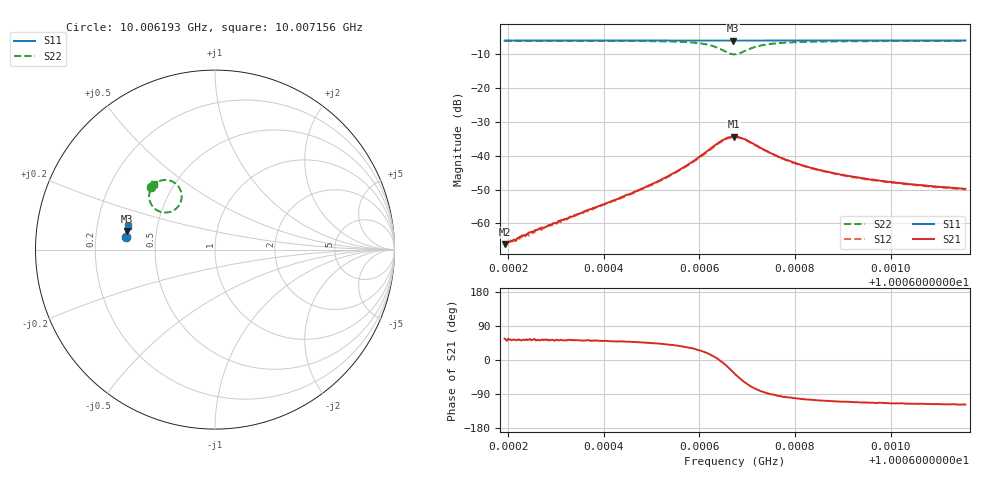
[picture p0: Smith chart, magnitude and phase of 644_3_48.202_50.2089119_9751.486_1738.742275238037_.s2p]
#  HZ  S  RI  R  50.00
! Rohde & Schwarz Vector Network Analyzer
! Rohde-Schwarz,ZNB20-2Port,1311601062101988,3.16
! Created: UTC 3/20/2024, 12:04:57 PM
! freq[Hz]  re:S11  im:S11  re:S21  im:S21  re:S12  im:S12  re:S22  im:S22
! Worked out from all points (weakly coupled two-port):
!   401 points, 10.006193 GHz to 10.007156 GHz, reference 50 ohm
!   highest |S21| = -34.34 dB at 10.006672 GHz (marker M1); lowest = -66.2 dB at 10.006193 GHz (marker M2)
!   lowest |S11| = -6.0 dB at 10.00667 GHz (marker M3), VSWR 3.02, Z = 16.7 + j4.59 ohm
!   |S11| at or under -10 dB: nowhere
!   |S22| runs from -10.0 to -6.0 dB; largest |S21 - S12| = 0.0015
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1.00061928e10  -0.4982 0.0727  0.00027 0.000407  0.000261 0.000418  -0.3574 0.3487
1.00062193e10  -0.4979 0.0745  0.00037 0.000479  0.000318 0.000489  -0.3555 0.3507
1.00062627e10  -0.4977 0.0771  0.000493 0.000631  0.000452 0.000663  -0.3519 0.3542
1.00062747e10  -0.4976 0.0781  0.000529 0.000681  0.000475 0.000697  -0.351 0.355
1.00063542e10  -0.4969 0.0834  0.000897 0.00113  0.000821 0.00114  -0.3431 0.3621
1.00064554e10  -0.4959 0.0899  0.00184 0.00205  0.00172 0.00207  -0.3278 0.3734
1.00065156e10  -0.4952 0.0939  0.0031 0.00293  0.00291 0.00303  -0.311 0.3816
1.00065686e10  -0.4944 0.0973  0.0056 0.00393  0.00526 0.00406  -0.2829 0.3876
1.00066168e10  -0.4933 0.1006  0.0112 0.00368  0.0106 0.00404  -0.2295 0.3747
1.00066457e10  -0.4924 0.1022  0.0165 -0.00119  0.016 -9.01e-05  -0.1888 0.3212
1.00066577e10  -0.4919 0.1027  0.0175 -0.00522  0.0175 -0.00395  -0.1869 0.281
1.00066698e10  -0.4918 0.1027  0.0164 -0.00983  0.0167 -0.00848  -0.2057 0.2397
1.00066722e10  -0.4918 0.103  0.0159 -0.0107  0.0164 -0.00939  -0.212 0.2327
1.00066746e10  -0.4919 0.103  0.0153 -0.0116  0.0157 -0.0102  -0.219 0.2266
1.00066963e10  -0.4923 0.1039  0.00872 -0.0151  0.00951 -0.0143  -0.2897 0.207
1.000673e10  -0.4925 0.106  0.0016 -0.0127  0.0023 -0.0125  -0.3508 0.2452
1.00067782e10  -0.4924 0.1094  -0.00115 -0.00888  -0.000622 -0.00874  -0.3667 0.2916
1.0006836e10  -0.4918 0.1134  -0.00171 -0.00635  -0.00137 -0.00632  -0.3643 0.3195
1.00069179e10  -0.4907 0.1187  -0.00175 -0.00463  -0.0015 -0.00463  -0.3569 0.3395
1.00069974e10  -0.4896 0.1237  -0.00167 -0.00374  -0.00148 -0.00375  -0.3501 0.3511
1.00070937e10  -0.4883 0.1298  -0.00158 -0.00316  -0.00136 -0.00312  -0.3433 0.361
1.00071564e10  -0.4872 0.1339  -0.00151 -0.00288  -0.00134 -0.0029  -0.339 0.3661
